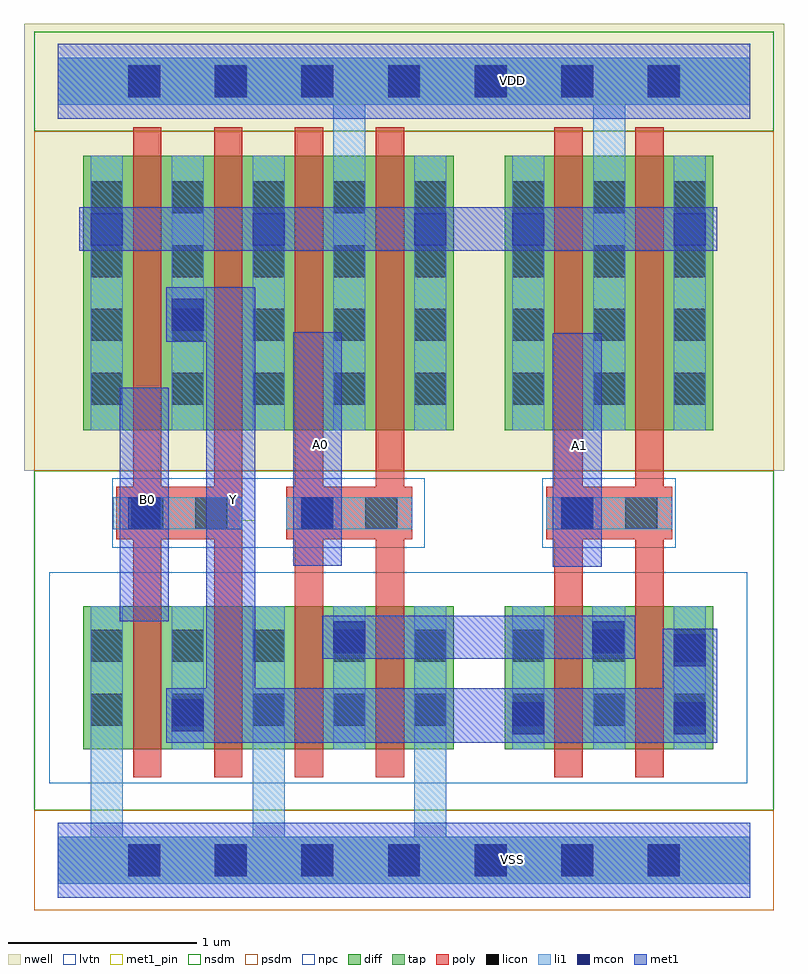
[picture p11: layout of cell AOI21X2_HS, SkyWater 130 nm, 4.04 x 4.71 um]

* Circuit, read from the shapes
.subckt AOI21X2_HS A0 A1 B0 VDD VSS Y
XM1 Y B0 VSS VSS sky130_fd_pr__nfet_01v8_lvt w=0.76 l=0.15 m=2
XM2 n1 A0 VSS VSS sky130_fd_pr__nfet_01v8_lvt w=0.76 l=0.15 m=2
XM3 n1 A1 Y VSS sky130_fd_pr__nfet_01v8_lvt w=0.76 l=0.15 m=2
XM4 Y B0 n2 VDD sky130_fd_pr__pfet_01v8 w=1.46 l=0.15 m=2
XM5 VDD A0 n2 VDD sky130_fd_pr__pfet_01v8 w=1.46 l=0.15 m=2
XM6 VDD A1 n2 VDD sky130_fd_pr__pfet_01v8 w=1.46 l=0.15 m=2
.ends

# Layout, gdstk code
from math import pi, radians
import gdstk
lib = gdstk.Library(unit=1e-6, precision=1e-09)
def R(c, l, rs):  # rectangles x0, y0, x1, y1
    for r in rs: c.add(gdstk.rectangle(r[:2], r[2:], *l))
def A(c, l, x, y, w, h, nx, ny, dx, dy):  # array of equal rectangles
    R(c, l, [(x+i*dx, y+j*dy, x+i*dx+w, y+j*dy+h) for i in range(nx) for j in range(ny)])
nwell = (64, 20)
diff = (65, 20)
tap = (65, 44)
poly = (66, 20)
licon = (66, 44)
li1 = (67, 20)
mcon = (67, 44)
met1_pin = (68, 16)
met1 = (68, 20)
nsdm = (93, 44)
psdm = (94, 20)
npc = (95, 20)
lvtn = (125, 44)

l1m1_c_cdns_750721774071 = lib.new_cell('L1M1_C_CDNS_7507217740717')
R(l1m1_c_cdns_750721774071, li1, [(-0.345,-0.085,0.345,0.085)])
R(l1m1_c_cdns_750721774071, mcon, [(-0.265,-0.085,-0.095,0.085), (0.095,-0.085,0.265,0.085)])
R(l1m1_c_cdns_750721774071, met1, [(-0.295,-0.145,0.295,0.145)])

c_l1m1_c_cdns_750721774071 = lib.new_cell('L1M1_C_CDNS_7507217740718')
R(c_l1m1_c_cdns_750721774071, li1, [(-0.165,-0.085,0.165,0.085)])
R(c_l1m1_c_cdns_750721774071, mcon, [(-0.085,-0.085,0.085,0.085)])
R(c_l1m1_c_cdns_750721774071, met1, [(-0.145,-0.115,0.145,0.115)])

l1m1_c_cdns_750721774074 = lib.new_cell('L1M1_C_CDNS_750721774074')
R(l1m1_c_cdns_750721774074, li1, [(-0.165,-0.085,0.165,0.085)])
R(l1m1_c_cdns_750721774074, mcon, [(-0.085,-0.085,0.085,0.085)])
R(l1m1_c_cdns_750721774074, met1, [(-0.115,-0.145,0.115,0.145)])

pyl1con_c_cdns_750721774 = lib.new_cell('PYL1CON_C_CDNS_750721774073')
R(pyl1con_c_cdns_750721774, poly, [(-0.135,-0.165,0.135,0.165)])
R(pyl1con_c_cdns_750721774, licon, [(-0.085,-0.085,0.085,0.085)])
R(pyl1con_c_cdns_750721774, npc, [(-0.185,-0.185,0.185,0.185)])

aoi21x2_hs = lib.new_cell('AOI21X2_HS')
R(aoi21x2_hs, nwell, [(-0.18,2.07,3.86,4.305), (-0.045,2.105,1.385,3.925), (1.025,2.105,2.285,3.925), (2.195,2.105,3.665,3.925), (-0.18,3.875,3.86,4.445)])
A(aoi21x2_hs, diff, 0.4, 0.59, 0.15, 0.76, 4, 1, 0.43, 0)
A(aoi21x2_hs, diff, 0.4, 2.285, 0.15, 1.46, 4, 1, 0.43, 0)
R(aoi21x2_hs, diff, [(0.135,0.59,0.4,1.35), (0.55,0.59,0.83,1.35), (0.98,0.59,1.205,1.35), (1.205,0.59,1.26,1.35), (1.41,0.59,1.69,1.35), (1.84,0.59,2.105,1.35), (2.375,0.59,2.64,1.35), (2.64,0.59,2.79,1.35), (2.79,0.59,3.07,1.35), (3.07,0.59,3.22,1.35), (3.22,0.59,3.485,1.35), (0.135,2.285,0.4,3.745), (0.55,2.285,0.83,3.745), (0.98,2.285,1.205,3.745), (1.205,2.285,1.26,3.745), (1.41,2.285,1.69,3.745), (1.84,2.285,2.105,3.745), (2.375,2.285,2.64,3.745), (2.64,2.285,2.79,3.745), (2.79,2.285,3.07,3.745), (3.07,2.285,3.22,3.745), (3.22,2.285,3.485,3.745)])
A(aoi21x2_hs, poly, 0.4, 0.44, 0.15, 0.055, 4, 2, 0.43, 1.005)
A(aoi21x2_hs, poly, 0.4, 0.495, 0.15, 0.095, 4, 2, 0.43, 0.855)
A(aoi21x2_hs, poly, 0.4, 0.59, 0.15, 0.76, 4, 1, 0.43, 0)
A(aoi21x2_hs, poly, 0.4, 2.135, 0.15, 0.055, 4, 2, 0.43, 1.705)
A(aoi21x2_hs, poly, 0.4, 2.19, 0.15, 0.095, 4, 2, 0.43, 1.555)
A(aoi21x2_hs, poly, 0.4, 2.285, 0.15, 1.46, 4, 1, 0.43, 0)
R(aoi21x2_hs, poly, [(2.64,0.44,2.79,0.495), (3.07,0.44,3.22,0.495), (2.64,0.495,2.79,0.59), (3.07,0.495,3.22,0.59), (2.64,0.59,2.79,1.35), (3.07,0.59,3.22,1.35), (2.64,1.35,2.79,1.445), (3.07,1.35,3.22,1.445), (2.64,1.445,2.79,1.5), (3.07,1.445,3.22,1.5), (0.31,1.705,0.83,1.985), (0.83,1.705,0.98,1.985), (1.215,1.705,1.365,1.985), (1.365,1.705,1.885,1.985), (2.595,1.705,2.745,1.985), (2.745,1.705,3.265,1.985), (0.31,1.71,0.98,1.98), (1.215,1.71,1.885,1.98), (2.595,1.71,3.265,1.98), (2.64,2.135,2.79,2.19), (3.07,2.135,3.22,2.19), (2.64,2.19,2.79,2.285), (3.07,2.19,3.22,2.285), (2.64,2.285,2.79,3.745), (3.07,2.285,3.22,3.745), (2.64,3.745,2.79,3.84), (3.07,3.745,3.22,3.84), (2.64,3.84,2.79,3.895), (3.07,3.84,3.22,3.895)])
A(aoi21x2_hs, licon, 0.375, -0.085, 0.17, 0.17, 7, 2, 0.46, 4.14)
A(aoi21x2_hs, licon, 0.175, 0.715, 0.17, 0.17, 5, 2, 0.43, 0.34)
A(aoi21x2_hs, licon, 2.415, 0.715, 0.17, 0.17, 3, 2, 0.43, 0.34)
A(aoi21x2_hs, licon, 0.175, 2.42, 0.17, 0.17, 5, 4, 0.43, 0.34)
A(aoi21x2_hs, licon, 2.415, 2.42, 0.17, 0.17, 3, 4, 0.43, 0.34)
A(aoi21x2_hs, li1, 0.175, 0.59, 0.17, 0.76, 5, 1, 0.43, 0)
A(aoi21x2_hs, li1, 2.415, 0.59, 0.17, 0.76, 3, 1, 0.43, 0)
A(aoi21x2_hs, li1, 0.175, 2.285, 0.17, 1.46, 5, 1, 0.43, 0)
A(aoi21x2_hs, li1, 2.415, 2.285, 0.17, 1.46, 3, 1, 0.43, 0)
A(aoi21x2_hs, mcon, 0.375, -0.085, 0.17, 0.17, 7, 2, 0.46, 4.14)
R(aoi21x2_hs, met1_pin, [(0.33,1.27,0.59,2.51), (2.63,1.56,2.89,2.8), (1.25,1.565,1.51,2.805), (0.79,1.805,1.05,3.045)])
R(aoi21x2_hs, nsdm, [(-0.125,0.265,3.805,2.07), (-0.005,0.46,1.215,1.48), (1.195,0.46,2.245,1.48), (2.235,0.46,3.625,1.48), (-0.125,3.875,3.805,4.405), (-0.125,3.93,3.805,4.35)])
R(aoi21x2_hs, psdm, [(-0.125,-0.265,3.805,0.265), (-0.125,-0.21,3.805,0.21), (-0.125,2.07,3.805,3.875), (-0.005,2.155,1.215,3.875), (1.195,2.155,2.245,3.875), (2.235,2.155,3.625,3.875)])
R(aoi21x2_hs, npc, [(0.29,1.66,1.95,2.03)])
R(aoi21x2_hs, lvtn, [(-0.045,0.41,1.385,1.53), (1.025,0.41,2.285,1.53), (2.195,0.41,3.665,1.53)])
aoi21x2_hs.add(gdstk.FlexPath([(1.335,2.27),(1.335,1.5)], 0.15, ends="flush", simple_path=True, layer=66, datatype=20))  # poly
aoi21x2_hs.add(gdstk.FlexPath([(0.31,1.845),(0.905,1.845)], 0.15, ends=(0, 0.075), simple_path=True, layer=66, datatype=20))  # poly
aoi21x2_hs.add(gdstk.FlexPath([(0.475,1.845),(0.475,1.5)], 0.15, ends=(0.075, 0), simple_path=True, layer=66, datatype=20))  # poly
aoi21x2_hs.add(gdstk.FlexPath([(0.475,2.27),(0.475,1.845)], 0.15, ends=(0, 0.075), simple_path=True, layer=66, datatype=20))  # poly
aoi21x2_hs.add(gdstk.FlexPath([(3.145,1.845),(3.145,1.5)], 0.15, ends=(0.075, 0), simple_path=True, layer=66, datatype=20))  # poly
aoi21x2_hs.add(gdstk.FlexPath([(3.145,2.27),(3.145,1.845)], 0.15, ends=(0, 0.075), simple_path=True, layer=66, datatype=20))  # poly
aoi21x2_hs.add(gdstk.FlexPath([(1.885,1.845),(1.29,1.845)], 0.15, ends=(0, 0.075), simple_path=True, layer=66, datatype=20))  # poly
aoi21x2_hs.add(gdstk.FlexPath([(0.4,1.845),(0.475,1.845)], 0.15, ends=(0, 0.075), simple_path=True, layer=66, datatype=20))  # poly
aoi21x2_hs.add(gdstk.FlexPath([(0.905,1.845),(0.475,1.845)], 0.15, ends="extended", simple_path=True, layer=66, datatype=20))  # poly
aoi21x2_hs.add(gdstk.FlexPath([(3.1,1.845),(3.01,1.845)], 0.15, ends="extended", simple_path=True, layer=66, datatype=20))  # poly
aoi21x2_hs.add(gdstk.FlexPath([(3.01,1.845),(2.67,1.845)], 0.15, ends="extended", simple_path=True, layer=66, datatype=20))  # poly
aoi21x2_hs.add(gdstk.FlexPath([(3.22,1.845),(3.1,1.845)], 0.15, ends=(0, 0.075), simple_path=True, layer=66, datatype=20))  # poly
aoi21x2_hs.add(gdstk.FlexPath([(1.765,1.5),(1.765,2.27)], 0.15, ends="flush", simple_path=True, layer=66, datatype=20))  # poly
aoi21x2_hs.add(gdstk.FlexPath([(0.905,1.845),(0.905,1.5)], 0.15, ends=(0.075, 0), simple_path=True, layer=66, datatype=20))  # poly
aoi21x2_hs.add(gdstk.FlexPath([(0.905,2.27),(0.905,1.845)], 0.15, ends=(0, 0.075), simple_path=True, layer=66, datatype=20))  # poly
aoi21x2_hs.add(gdstk.FlexPath([(2.715,1.845),(2.715,1.5)], 0.15, ends=(0.075, 0), simple_path=True, layer=66, datatype=20))  # poly
aoi21x2_hs.add(gdstk.FlexPath([(2.715,2.27),(2.715,1.845)], 0.15, ends=(0, 0.075), simple_path=True, layer=66, datatype=20))  # poly
aoi21x2_hs.add(gdstk.FlexPath([(1.12,0.59),(1.12,0)], 0.17, ends=(0, 0.125), simple_path=True, layer=67, datatype=20))  # li1
aoi21x2_hs.add(gdstk.FlexPath([(1.98,0.695),(1.98,0)], 0.17, ends=(0, 0.125), simple_path=True, layer=67, datatype=20))  # li1
aoi21x2_hs.add(gdstk.FlexPath([(0.26,0.595),(0.26,0.005)], 0.17, ends=(0, 0.125), simple_path=True, layer=67, datatype=20))  # li1
aoi21x2_hs.add(gdstk.FlexPath([(1.55,3.55),(1.55,4.14)], 0.17, ends=(0, 0.125), simple_path=True, layer=67, datatype=20))  # li1
aoi21x2_hs.add(gdstk.FlexPath([(0,4.14),(3.68,4.14)], 0.25, ends="flush", simple_path=True, layer=67, datatype=20))  # li1
aoi21x2_hs.add(gdstk.FlexPath([(0.98,1.845),(0.31,1.845)], 0.17, ends="flush", simple_path=True, layer=67, datatype=20))  # li1
aoi21x2_hs.add(gdstk.FlexPath([(1.215,1.845),(1.885,1.845)], 0.17, ends="flush", simple_path=True, layer=67, datatype=20))  # li1
aoi21x2_hs.add(gdstk.FlexPath([(2.595,1.845),(3.265,1.845)], 0.17, ends="flush", simple_path=True, layer=67, datatype=20))  # li1
aoi21x2_hs.add(gdstk.FlexPath([(2.93,3.55),(2.93,4.14)], 0.17, ends=(0, 0.125), simple_path=True, layer=67, datatype=20))  # li1
aoi21x2_hs.add(gdstk.FlexPath([(0,0),(3.68,0)], 0.25, ends="flush", simple_path=True, layer=67, datatype=20))  # li1
aoi21x2_hs.add(gdstk.FlexPath([(0,0),(3.68,0)], 0.25, ends="flush", simple_path=True, layer=65, datatype=44))  # tap
aoi21x2_hs.add(gdstk.FlexPath([(0,4.14),(3.68,4.14)], 0.25, ends="flush", simple_path=True, layer=65, datatype=44))  # tap
aoi21x2_hs.add(gdstk.FlexPath([(0,0),(3.68,0)], 0.4, ends="flush", simple_path=True, layer=68, datatype=20))  # met1
aoi21x2_hs.add(gdstk.FlexPath([(0,4.14),(3.68,4.14)], 0.4, ends="flush", simple_path=True, layer=68, datatype=20))  # met1
aoi21x2_hs.add(gdstk.FlexPath([(0.92,0.77),(0.92,0.625)], 0.26, ends=(0.145, 0), simple_path=True, layer=68, datatype=20))  # met1
aoi21x2_hs.add(gdstk.FlexPath([(1.38,2.805),(1.38,1.565)], 0.26, ends="flush", simple_path=True, layer=68, datatype=20))  # met1
aoi21x2_hs.add(gdstk.FlexPath([(0.46,2.51),(0.46,1.27)], 0.26, ends="flush", simple_path=True, layer=68, datatype=20))  # met1
aoi21x2_hs.add(gdstk.FlexPath([(2.76,2.8),(2.76,1.56)], 0.26, ends="flush", simple_path=True, layer=68, datatype=20))  # met1
aoi21x2_hs.add(gdstk.FlexPath([(0.92,3.045),(0.92,0.77)], 0.26, ends=(0, 0.145), simple_path=True, layer=68, datatype=20))  # met1
aoi21x2_hs.add(gdstk.FlexPath([(3.36,0.77),(3.36,0.755)], 0.29, ends=(0.145, 0.115), simple_path=True, layer=68, datatype=20))  # met1
aoi21x2_hs.add(gdstk.FlexPath([(0.26,3.355),(3.36,3.355)], 0.23, ends="flush", simple_path=True, layer=68, datatype=20))  # met1
aoi21x2_hs.add(gdstk.FlexPath([(3.36,0.755),(2.5,0.755)], 0.23, ends=(0.145, 0), simple_path=True, layer=68, datatype=20))  # met1
aoi21x2_hs.add(gdstk.FlexPath([(0.69,0.77),(3.36,0.77)], 0.29, ends=(0, 0.145), simple_path=True, layer=68, datatype=20))  # met1
aoi21x2_hs.add(gdstk.FlexPath([(2.955,1.185),(1.55,1.185)], 0.23, ends=(0.115, 0), simple_path=True, layer=68, datatype=20))  # met1
aoi21x2_hs.add(gdstk.FlexPath([(0,4.14),(3.68,4.14)], 0.4, ends="flush", simple_path=True, layer=68, datatype=16))  # met1_pin
aoi21x2_hs.add(gdstk.FlexPath([(0,0),(3.68,0)], 0.4, ends="flush", simple_path=True, layer=68, datatype=16))  # met1_pin
aoi21x2_hs.add(gdstk.Reference(l1m1_c_cdns_750721774071, (3.36,0.935), rotation=pi/2))
aoi21x2_hs.add(gdstk.Reference(c_l1m1_c_cdns_750721774071, (0.69,2.9), rotation=pi/2))
aoi21x2_hs.add(gdstk.Reference(c_l1m1_c_cdns_750721774071, (0.69,0.77), rotation=pi/2))
aoi21x2_hs.add(gdstk.Reference(l1m1_c_cdns_750721774074, (2.76,1.845)))
aoi21x2_hs.add(gdstk.Reference(l1m1_c_cdns_750721774074, (1.55,1.185), rotation=pi/2))
aoi21x2_hs.add(gdstk.Reference(l1m1_c_cdns_750721774074, (3.36,3.355), rotation=pi/2))
aoi21x2_hs.add(gdstk.Reference(l1m1_c_cdns_750721774074, (2.5,3.355), rotation=pi/2))
aoi21x2_hs.add(gdstk.Reference(l1m1_c_cdns_750721774074, (1.98,3.355), rotation=pi/2))
aoi21x2_hs.add(gdstk.Reference(l1m1_c_cdns_750721774074, (1.12,3.355), rotation=pi/2))
aoi21x2_hs.add(gdstk.Reference(l1m1_c_cdns_750721774074, (0.26,3.355), rotation=pi/2))
aoi21x2_hs.add(gdstk.Reference(l1m1_c_cdns_750721774074, (1.38,1.845)))
aoi21x2_hs.add(gdstk.Reference(l1m1_c_cdns_750721774074, (2.925,1.185), rotation=pi/2))
aoi21x2_hs.add(gdstk.Reference(l1m1_c_cdns_750721774074, (2.5,0.755), rotation=pi/2))
aoi21x2_hs.add(gdstk.Reference(l1m1_c_cdns_750721774074, (0.46,1.845)))
aoi21x2_hs.add(gdstk.Reference(pyl1con_c_cdns_750721774, (1.38,1.845), rotation=3*pi/2, x_reflection=True))
aoi21x2_hs.add(gdstk.Reference(pyl1con_c_cdns_750721774, (1.72,1.845), rotation=3*pi/2, x_reflection=True))
aoi21x2_hs.add(gdstk.Reference(pyl1con_c_cdns_750721774, (0.815,1.845), rotation=3*pi/2))
aoi21x2_hs.add(gdstk.Reference(pyl1con_c_cdns_750721774, (2.76,1.845), rotation=3*pi/2, x_reflection=True))
aoi21x2_hs.add(gdstk.Reference(pyl1con_c_cdns_750721774, (3.1,1.845), rotation=3*pi/2, x_reflection=True))
aoi21x2_hs.add(gdstk.Reference(pyl1con_c_cdns_750721774, (0.475,1.845), rotation=3*pi/2))
aoi21x2_hs.add(gdstk.Label('VDD', (2.415,4.145), layer=68, texttype=5))
aoi21x2_hs.add(gdstk.Label('Y', (0.935,1.915), layer=68, texttype=5))
aoi21x2_hs.add(gdstk.Label('B0', (0.475,1.915), layer=68, texttype=5))
aoi21x2_hs.add(gdstk.Label('A1', (2.775,2.205), layer=68, texttype=5))
aoi21x2_hs.add(gdstk.Label('VSS', (2.415,0.005), layer=68, texttype=5))
aoi21x2_hs.add(gdstk.Label('A0', (1.395,2.21), layer=68, texttype=5))

lib.write_gds('AOI21X2_HS.gds')
